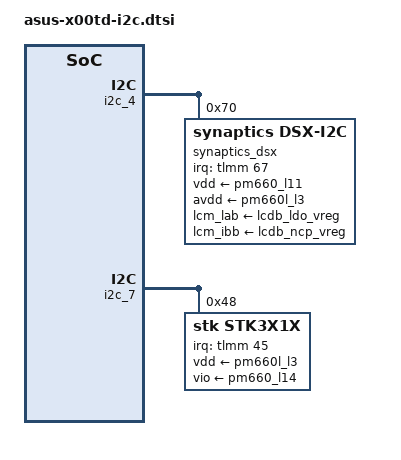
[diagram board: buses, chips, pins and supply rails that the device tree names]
// SPDX-License-Identifier: GPL-2.0
// Copyright (C) 2021 Atom-X-Devs < https://www.github.com/Atom-X-Devs >

// asus X00TD blsp changes
&i2c_4 {
	synaptics_dsx@70 {
		compatible = "synaptics,dsx-i2c";
		reg = <0x70>;
		interrupt-parent = <&tlmm>;
		vdd-supply = <&pm660_l11>;
		avdd-supply = <&pm660l_l3>;
		lcm_lab-supply = <&lcdb_ldo_vreg>;
		lcm_ibb-supply = <&lcdb_ncp_vreg>;
		synaptics,pwr-reg-name = "avdd";
		synaptics,bus-reg-name = "vdd";
		synaptics,ub-i2c-addr = <0x2c>;
		synaptics,irq-gpio = <&tlmm 67 0x2008>; /* IRQF_ONESHOT | IRQF_TRIGGER_LOW */
		synaptics,irq-on-state = <0>;
		synaptics,power-delay-ms = <200>;
		synaptics,reset-delay-ms = <200>;
		synaptics,reset-on-state = <0>;
		synaptics,reset-active-ms = <20>;
	};
};

&i2c_7 {
	status = "okay";
	stk@48 {
		compatible = "stk,stk3x1x";
		reg = <0x48>;
		interrupt-parent = <&tlmm>;
		interrupts = <45 0x2>;
		vdd-supply = <&pm660l_l3>;
		vio-supply = <&pm660_l14>;
		stk,irq-gpio = <&tlmm 45 0x02>;
		pinctrl-names = "psensor_active", "psensor_suspend";
		pinctrl-0 = <&psensor_int_active>;
		pinctrl-1 = <&psensor_int_suspend>;
		stk,state-reg = <0x0>;
		stk,psctrl-reg = <0x31>;
		stk,alsctrl-reg = <0x39>;
		stk,ledctrl-reg = <0xFF>;
		stk,wait-reg = <0x0A>;
		stk,ps-thdh = <120>;
		stk,ps-thdl = <90>;
		stk,transmittance = <1100>;
	};
};
